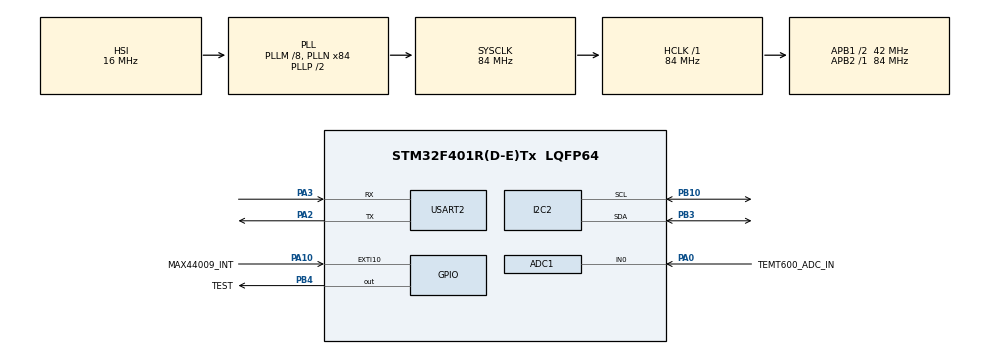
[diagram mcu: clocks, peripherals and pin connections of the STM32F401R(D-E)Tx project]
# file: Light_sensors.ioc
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ADC1.Channel-0\#ChannelRegularConversion=ADC_CHANNEL_0
ADC1.ContinuousConvMode=ENABLE
ADC1.DMAContinuousRequests=ENABLE
ADC1.InjNumberOfConversion=0
ADC1.NbrOfConversion=1
ADC1.NbrOfConversionFlag=1
ADC1.Rank-0\#ChannelRegularConversion=1
ADC1.SamplingTime-0\#ChannelRegularConversion=ADC_SAMPLETIME_480CYCLES
ADC1.ScanConvMode=DISABLE
ADC1.master=1
Dma.ADC1.0.Direction=DMA_PERIPH_TO_MEMORY
Dma.ADC1.0.FIFOMode=DMA_FIFOMODE_DISABLE
Dma.ADC1.0.Instance=DMA2_Stream0
Dma.ADC1.0.MemDataAlignment=DMA_MDATAALIGN_HALFWORD
Dma.ADC1.0.MemInc=DMA_MINC_ENABLE
Dma.ADC1.0.Mode=DMA_CIRCULAR
Dma.ADC1.0.PeriphDataAlignment=DMA_PDATAALIGN_HALFWORD
Dma.ADC1.0.PeriphInc=DMA_PINC_DISABLE
Dma.ADC1.0.Priority=DMA_PRIORITY_MEDIUM
Dma.Request0=ADC1
I2C2.I2C_Mode=I2C_Fast
Mcu.Family=STM32F4
Mcu.Name=STM32F401R(D-E)Tx
Mcu.Package=LQFP64
NVIC.DMA2_Stream0_IRQn=true\:0\:0\:false\:false\:true\:false
NVIC.EXTI15_10_IRQn=true\:0\:0\:false\:true\:true\:1\:true
NVIC.PriorityGroup=NVIC_PRIORITYGROUP_4
PA0-WKUP.GPIO_Label=TEMT600_ADC_IN
PA0-WKUP.Signal=ADCx_IN0
PA10.GPIO_Label=MAX44009_INT
PA10.GPIO_ModeDefaultEXTI=GPIO_MODE_IT_FALLING
PA10.GPIO_PuPd=GPIO_PULLUP
PA10.Signal=GPXTI10
PA2.Mode=Asynchronous
PA2.Signal=USART2_TX
PA3.Mode=Asynchronous
PA3.Signal=USART2_RX
PB10.Mode=I2C
PB10.Signal=I2C2_SCL
PB3.Mode=I2C
PB3.Signal=I2C2_SDA
PB4.GPIO_Label=TEST
PB4.Signal=GPIO_Output
ProjectManager.HeapSize=0x200
ProjectManager.StackSize=0x400
ProjectManager.TargetToolchain=SW4STM32
RCC.48MHZClocksFreq_Value=42000000
RCC.AHBFreq_Value=84000000
RCC.APB1CLKDivider=RCC_HCLK_DIV2
RCC.APB1Freq_Value=42000000
RCC.APB1TimFreq_Value=84000000
RCC.APB2Freq_Value=84000000
RCC.APB2TimFreq_Value=84000000
RCC.CortexFreq_Value=84000000
RCC.HCLKFreq_Value=84000000
RCC.HSE_VALUE=25000000
RCC.HSI_VALUE=16000000
RCC.LSE_VALUE=32768
RCC.PLLM=8
RCC.PLLN=84
RCC.SYSCLKFreq_VALUE=84000000
RCC.SYSCLKSource=RCC_SYSCLKSOURCE_PLLCLK
RCC.VCOOutputFreq_Value=168000000
SH.ADCx_IN0.0=ADC1_IN0,IN0
USART2.VirtualMode=VM_ASYNC
board=custom

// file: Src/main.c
/* USER CODE BEGIN Header */
/**
  ******************************************************************************
  * @file           : main.c
  * @brief          : Main program body
  ******************************************************************************
  ** This notice applies to any and all portions of this file
  * that are not between comment pairs USER CODE BEGIN and
  * USER CODE END. Other portions of this file, whether
  * inserted by the user or by software development tools
  * are owned by their respective copyright owners.
  *
  * COPYRIGHT(c) 2018 STMicroelectronics
  *
  * Redistribution and use in source and binary forms, with or without modification,
  * are permitted provided that the following conditions are met:
  *   1. Redistributions of source code must retain the above copyright notice,
  *      this list of conditions and the following disclaimer.
  *   2. Redistributions in binary form must reproduce the above copyright notice,
  *      this list of conditions and the following disclaimer in the documentation
  *      and/or other materials provided with the distribution.
  *   3. Neither the name of STMicroelectronics nor the names of its contributors
  *      may be used to endorse or promote products derived from this software
  *      without specific prior written permission.
  *
  * THIS SOFTWARE IS PROVIDED BY THE COPYRIGHT HOLDERS AND CONTRIBUTORS "AS IS"
  * AND ANY EXPRESS OR IMPLIED WARRANTIES, INCLUDING, BUT NOT LIMITED TO, THE
  * IMPLIED WARRANTIES OF MERCHANTABILITY AND FITNESS FOR A PARTICULAR PURPOSE ARE
  * DISCLAIMED. IN NO EVENT SHALL THE COPYRIGHT HOLDER OR CONTRIBUTORS BE LIABLE
  * FOR ANY DIRECT, INDIRECT, INCIDENTAL, SPECIAL, EXEMPLARY, OR CONSEQUENTIAL
  * DAMAGES (INCLUDING, BUT NOT LIMITED TO, PROCUREMENT OF SUBSTITUTE GOODS OR
  * SERVICES; LOSS OF USE, DATA, OR PROFITS; OR BUSINESS INTERRUPTION) HOWEVER
  * CAUSED AND ON ANY THEORY OF LIABILITY, WHETHER IN CONTRACT, STRICT LIABILITY,
  * OR TORT (INCLUDING NEGLIGENCE OR OTHERWISE) ARISING IN ANY WAY OUT OF THE USE
  * OF THIS SOFTWARE, EVEN IF ADVISED OF THE POSSIBILITY OF SUCH DAMAGE.
  *
  ******************************************************************************
  */
/* USER CODE END Header */

#include "main.h"
#include "adc.h"
#include "dma.h"
#include "i2c.h"
#include "usart.h"
#include "gpio.h"

/* USER CODE BEGIN Includes */
#include "bh1750.h"
#include "max44009.h"
#include "temt6000.h"
/* USER CODE END Includes */

/* USER CODE BEGIN PD */
#define STM_STUDIO
/* USER CODE END PD */

/* USER CODE BEGIN PV */
float BH1750_lux, MAX44009_lux, TEMT6000_lux;
/* USER CODE END PV */

void SystemClock_Config(void);
static void MX_NVIC_Init(void);

int main(void)
{

  /* MCU Configuration--------------------------------------------------------*/

  /* Reset of all peripherals, Initializes the Flash interface and the Systick. */
  HAL_Init();

  /* Configure the system clock */
  SystemClock_Config();

  /* Initialize all configured peripherals */
  MX_GPIO_Init();
  MX_DMA_Init();
  MX_I2C2_Init();
  MX_USART2_UART_Init();
  MX_ADC1_Init();

  /* Initialize interrupts */
  MX_NVIC_Init();
  /* USER CODE BEGIN 2 */
  BH1750_Init(&hi2c2);
  BH1750_SetMode(CONTINUOUS_HIGH_RES_MODE_2);

  MAX44009_Init(&hi2c2);
  MAX44009_ContinuousMode(1);
//  MAX44009_WriteInterruptEnable(1);
//  MAX44009_SetUpperThreshold(100);
//  MAX44009_SetThresholdTimer(10);
//  MAX44009_IntegrationTime(INTEGRATION_TIME_100_MS);

  TEMT6000_Init(&hadc1);
  /* USER CODE END 2 */

  /* Infinite loop */
  /* USER CODE BEGIN WHILE */
  char buffer[40];
  uint8_t size;
  while (1)
  {
#ifdef STM_STUDIO

	  BH1750_ReadLight(&BH1750_lux);
	  MAX44009_ReadLightHighResolution(&MAX44009_lux);
	  TEMT6000_ReadLight(&TEMT6000_lux);
#else
	  if(BH1750_OK == BH1750_ReadLight(&BH1750_lux))
	  {
		  size = sprintf(buffer, "BH1750 Lux: %.2f\n\r", BH1750_lux);
	  	  HAL_UART_Transmit(&huart2, (uint8_t*)buffer, size, 100);
	  }

	  if(MAX44009_OK == MAX44009_ReadLightLowResolution(&MAX44009_lux))
	  {
		  size = sprintf(buffer, "MAX44009 Lux: %.2f\n\r", MAX44009_lux);
	  	  HAL_UART_Transmit(&huart2, (uint8_t*)buffer, size, 100);
	  }
	  HAL_GPIO_WritePin(TEST_GPIO_Port, TEST_Pin, 1);
	  if(TEMT6000_OK == TEMT6000_ReadLight(&TEMT6000_lux))
	  {
		  HAL_GPIO_WritePin(TEST_GPIO_Port, TEST_Pin, 0);
		  size = sprintf(buffer, "TEMT6000 Lux: %.2f\n\r\n\r", TEMT6000_lux);
	  	  HAL_UART_Transmit(&huart2, (uint8_t*)buffer, size, 100);
	  }

	  HAL_Delay(200);
#endif
    /* USER CODE END WHILE */

  }
}

void SystemClock_Config(void)
{
  RCC_OscInitTypeDef RCC_OscInitStruct = {0};
  RCC_ClkInitTypeDef RCC_ClkInitStruct = {0};

  /**Configure the main internal regulator output voltage
  */
  __HAL_RCC_PWR_CLK_ENABLE();
  __HAL_PWR_VOLTAGESCALING_CONFIG(PWR_REGULATOR_VOLTAGE_SCALE2);
  /**Initializes the CPU, AHB and APB busses clocks
  */
  RCC_OscInitStruct.OscillatorType = RCC_OSCILLATORTYPE_HSI;
  RCC_OscInitStruct.HSIState = RCC_HSI_ON;
  RCC_OscInitStruct.HSICalibrationValue = RCC_HSICALIBRATION_DEFAULT;
  RCC_OscInitStruct.PLL.PLLState = RCC_PLL_ON;
  RCC_OscInitStruct.PLL.PLLSource = RCC_PLLSOURCE_HSI;
  RCC_OscInitStruct.PLL.PLLM = 8;
  RCC_OscInitStruct.PLL.PLLN = 84;
  RCC_OscInitStruct.PLL.PLLP = RCC_PLLP_DIV2;
  RCC_OscInitStruct.PLL.PLLQ = 4;
  if (HAL_RCC_OscConfig(&RCC_OscInitStruct) != HAL_OK)
  {
    Error_Handler();
  }
  /**Initializes the CPU, AHB and APB busses clocks
  */
  RCC_ClkInitStruct.ClockType = RCC_CLOCKTYPE_HCLK|RCC_CLOCKTYPE_SYSCLK
                              |RCC_CLOCKTYPE_PCLK1|RCC_CLOCKTYPE_PCLK2;
  RCC_ClkInitStruct.SYSCLKSource = RCC_SYSCLKSOURCE_PLLCLK;
  RCC_ClkInitStruct.AHBCLKDivider = RCC_SYSCLK_DIV1;
  RCC_ClkInitStruct.APB1CLKDivider = RCC_HCLK_DIV2;
  RCC_ClkInitStruct.APB2CLKDivider = RCC_HCLK_DIV1;

  if (HAL_RCC_ClockConfig(&RCC_ClkInitStruct, FLASH_LATENCY_2) != HAL_OK)
  {
    Error_Handler();
  }
}

/**
  * @brief NVIC Configuration.
  * @retval None
  */
static void MX_NVIC_Init(void)
{
  /* EXTI15_10_IRQn interrupt configuration */
  HAL_NVIC_SetPriority(EXTI15_10_IRQn, 0, 0);
  HAL_NVIC_EnableIRQ(EXTI15_10_IRQn);
}

/* USER CODE BEGIN 4 */
HAL_GPIO_EXTI_Callback(uint16_t GPIO_Pin)
{
//	if(GPIO_Pin == MAX44009_INT_Pin)
//	{
//		uint8_t IntStatus;
//		MAX44009_ReadInterruptStatus(&IntStatus);
//		if(IntStatus)
//		{
//			MAX44009_ReadLightHighResolution(&lux2);
//			HAL_UART_Transmit(&huart2, "INT\n\r", 6, 100);
//		}
//
//	}
}
/* USER CODE END 4 */

void Error_Handler(void)
{
}

/************************ (C) COPYRIGHT STMicroelectronics *****END OF FILE****/
